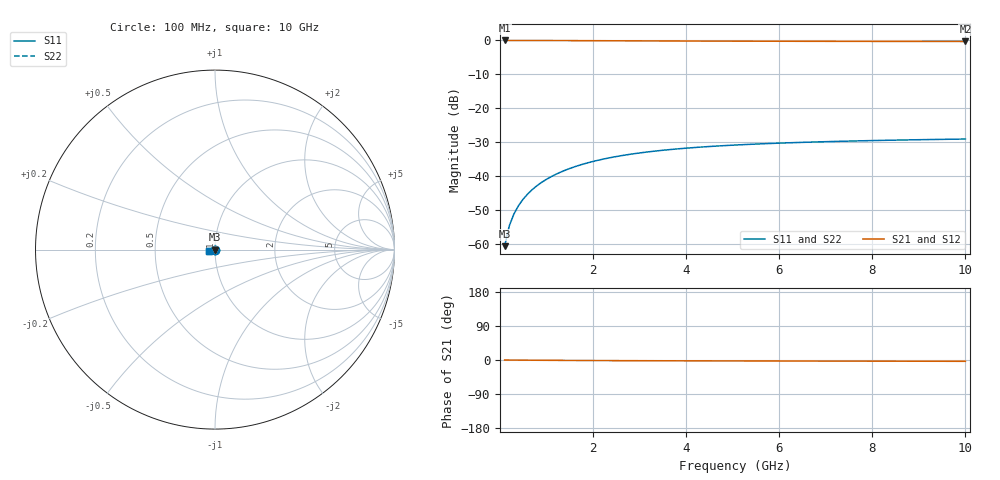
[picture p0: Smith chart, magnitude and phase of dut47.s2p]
! Touchstone file exported from HFSS 2024.1.0
!  File:  C:/UserFiles/LocalFiles/RDL_TSV_Batchsim/temp_TSV1_47_1778764318.aedt
!  Generated:  09:16:28 PM May 14, 2026
!  Design:  TSV1
!  Project:  temp_TSV1_47_1778764318
!  Setup:  Setup1
!  Solution:  Sweep
! Variables:
!  dtsv = 11.21um
!  hbump = 3um
!  htsv = 51.23um
!  lrdl = 252.1521522um
!  p = 40
!  p1 = 42.24um
!  t = 500um
!  trdl = 3um
!  wrdl = 24.89489489um
# GHz S MA R 50.000000
! Terminal data exported
! Port[1] = TSV22_T1
! Port[2] = TSV22_T2
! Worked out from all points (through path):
!   100 points, 100 MHz to 10 GHz, reference 50 ohm
!   highest |S21| = 0.00 dB at 100 MHz (marker M1); lowest = -0.3 dB at 10 GHz (marker M2)
!   lowest |S11| = -60.7 dB at 100 MHz (marker M3), VSWR 1.00, Z = 50 - j0.0923 ohm
!   |S11| at or under -10 dB: start of sweep to end of sweep
!   |S22| runs from -60.7 to -29.1 dB; largest |S21 - S12| = 2.1e-15
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0.1  0.0009251 -85.9  0.9999 -0.1  0.9999 -0.1  0.0009251 -85.9
! Gamma 0 0 0 0
! Port Impedance 50 0 50 0
0.2  0.001843 -90.4  0.9998 -0.2  0.9998 -0.2  0.001843 -90.4
0.3  0.00276 -92.9  0.9997 -0.3  0.9997 -0.3  0.00276 -92.9
0.4  0.003675 -94.9  0.9995 -0.3  0.9995 -0.3  0.003675 -94.9
0.5  0.004583 -96.7  0.9992 -0.4  0.9992 -0.4  0.004583 -96.7
0.6  0.005483 -98.4  0.999 -0.5  0.999 -0.5  0.005483 -98.4
0.7  0.006373 -100.1  0.9986 -0.6  0.9986 -0.6  0.006373 -100.1
0.8  0.007251 -101.6  0.9983 -0.6  0.9983 -0.6  0.007251 -101.6
0.9  0.008115 -103.2  0.9979 -0.7  0.9979 -0.7  0.008115 -103.2
1.1  0.009795 -106.1  0.997 -0.9  0.997 -0.9  0.009795 -106.1
1.4  0.01218 -110.3  0.9954 -1.1  0.9954 -1.1  0.01218 -110.3
1.6  0.01368 -113.0  0.9943 -1.2  0.9943 -1.2  0.01368 -113.0
1.8  0.01509 -115.5  0.9931 -1.3  0.9931 -1.3  0.01509 -115.5
2.1  0.01706 -119.2  0.9913 -1.5  0.9913 -1.5  0.01706 -119.2
2.5  0.01941 -123.6  0.9889 -1.7  0.9889 -1.7  0.01941 -123.6
2.9  0.02145 -127.7  0.9866 -1.8  0.9866 -1.8  0.02145 -127.7
3.4  0.02363 -132.2  0.9838 -2.0  0.9838 -2.0  0.02363 -132.2
4.2  0.02642 -138.4  0.98 -2.2  0.98 -2.2  0.02642 -138.4
5.1  0.02879 -144.0  0.9763 -2.4  0.9763 -2.4  0.02879 -144.0
6.7  0.03173 -151.8  0.9715 -2.8  0.9715 -2.8  0.03173 -151.8
8.4  0.0338 -158.1  0.968 -3.1  0.968 -3.1  0.0338 -158.1
10  0.03517 -162.9  0.9656 -3.5  0.9656 -3.5  0.03517 -162.9
